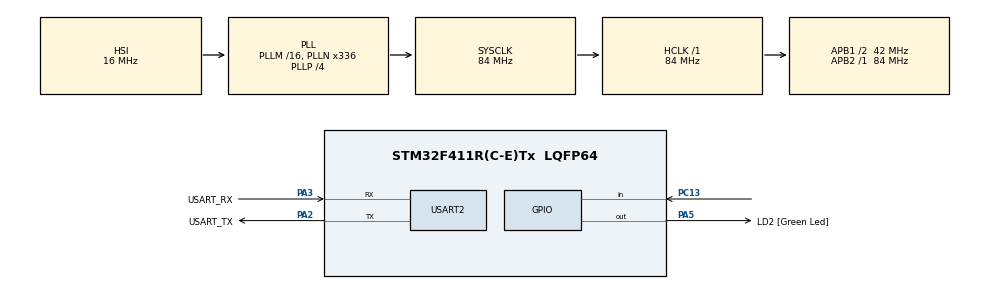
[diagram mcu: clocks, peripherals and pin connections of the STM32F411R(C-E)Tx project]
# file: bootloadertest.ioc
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Mcu.Family=STM32F4
Mcu.Name=STM32F411R(C-E)Tx
Mcu.Package=LQFP64
NVIC.PriorityGroup=NVIC_PRIORITYGROUP_0
PA13.GPIO_Label=TMS
PA13.Mode=Serial_Wire
PA13.Signal=SYS_JTMS-SWDIO
PA14.GPIO_Label=TCK
PA14.Mode=Serial_Wire
PA14.Signal=SYS_JTCK-SWCLK
PA2.GPIO_Label=USART_TX
PA2.Mode=Asynchronous
PA2.Signal=USART2_TX
PA3.GPIO_Label=USART_RX
PA3.Mode=Asynchronous
PA3.Signal=USART2_RX
PA5.GPIO_Label=LD2 [Green Led]
PA5.Signal=GPIO_Output
PB3.GPIO_Label=SWO
PB3.Signal=SYS_JTDO-SWO
PC13-ANTI_TAMP.GPIO_PuPd=GPIO_PULLUP
PC13-ANTI_TAMP.Signal=GPIO_Input
PC14-OSC32_IN.Mode=LSE-External-Oscillator
PC14-OSC32_IN.Signal=RCC_OSC32_IN
PC15-OSC32_OUT.Mode=LSE-External-Oscillator
PC15-OSC32_OUT.Signal=RCC_OSC32_OUT
PH0\ -\ OSC_IN.Mode=HSE-External-Oscillator
PH0\ -\ OSC_IN.Signal=RCC_OSC_IN
PH1\ -\ OSC_OUT.Mode=HSE-External-Oscillator
PH1\ -\ OSC_OUT.Signal=RCC_OSC_OUT
ProjectManager.HeapSize=0x200
ProjectManager.StackSize=0x400
ProjectManager.TargetToolchain=STM32CubeIDE
RCC.48MHZClocksFreq_Value=84000000
RCC.AHBFreq_Value=84000000
RCC.APB1CLKDivider=RCC_HCLK_DIV2
RCC.APB1Freq_Value=42000000
RCC.APB1TimFreq_Value=84000000
RCC.APB2Freq_Value=84000000
RCC.APB2TimFreq_Value=84000000
RCC.CortexFreq_Value=84000000
RCC.FLatency-AdvancedSettings=FLASH_LATENCY_2
RCC.HCLKFreq_Value=84000000
RCC.HSE_VALUE=8000000
RCC.HSI_VALUE=16000000
RCC.PLLN=336
RCC.PLLP=RCC_PLLP_DIV4
RCC.SYSCLKFreq_VALUE=84000000
RCC.SYSCLKSource=RCC_SYSCLKSOURCE_PLLCLK
RCC.VCOOutputFreq_Value=336000000
USART2.VirtualMode=VM_ASYNC
board=NUCLEO-F411RE

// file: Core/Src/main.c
/* USER CODE BEGIN Header */
/**
  ******************************************************************************
  * @file           : main.c
  * @brief          : Main program body
  ******************************************************************************
  * @attention
  *
  * Copyright (c) 2025 STMicroelectronics.
  * All rights reserved.
  *
  * This software is licensed under terms that can be found in the LICENSE file
  * in the root directory of this software component.
  * If no LICENSE file comes with this software, it is provided AS-IS.
  *
  ******************************************************************************
  */
/* USER CODE END Header */
#include "main.h"
#define APP_ADDRESS   (uint32_t)0x08008000

/* USER CODE BEGIN PTD */
typedef void (*pFunction)(void);
/* USER CODE END PTD */

UART_HandleTypeDef huart2;

void SystemClock_Config(void);
static void MX_GPIO_Init(void);
static void MX_USART2_UART_Init(void);
/* USER CODE BEGIN PFP */
void JumpToApp(void);
static int AppImageIsValid(void);
/* USER CODE END PFP */

int main(void)
{

  /* MCU Configuration--------------------------------------------------------*/

  /* Reset of all peripherals, Initializes the Flash interface and the Systick. */
  HAL_Init();

  /* Configure the system clock */
  SystemClock_Config();

  /* Initialize all configured peripherals */
  MX_GPIO_Init();
  MX_USART2_UART_Init();
  /* USER CODE BEGIN 2 */
  for(int i =0;i<10;i++)
  {
	  HAL_GPIO_TogglePin(LD2_GPIO_Port, LD2_Pin);
	  HAL_Delay(100);
  }
  if(HAL_GPIO_ReadPin(GPIOC, GPIO_PIN_13)==GPIO_PIN_RESET)
  {
  	  JumpToApp();
  }

  /* USER CODE END 2 */

  /* Infinite loop */
  while (1)
  {

  }
}

void SystemClock_Config(void)
{
  RCC_OscInitTypeDef RCC_OscInitStruct = {0};
  RCC_ClkInitTypeDef RCC_ClkInitStruct = {0};

  /** Configure the main internal regulator output voltage
  */
  __HAL_RCC_PWR_CLK_ENABLE();
  __HAL_PWR_VOLTAGESCALING_CONFIG(PWR_REGULATOR_VOLTAGE_SCALE1);

  /** Initializes the RCC Oscillators according to the specified parameters
  * in the RCC_OscInitTypeDef structure.
  */
  RCC_OscInitStruct.OscillatorType = RCC_OSCILLATORTYPE_HSI;
  RCC_OscInitStruct.HSIState = RCC_HSI_ON;
  RCC_OscInitStruct.HSICalibrationValue = RCC_HSICALIBRATION_DEFAULT;
  RCC_OscInitStruct.PLL.PLLState = RCC_PLL_ON;
  RCC_OscInitStruct.PLL.PLLSource = RCC_PLLSOURCE_HSI;
  RCC_OscInitStruct.PLL.PLLM = 16;
  RCC_OscInitStruct.PLL.PLLN = 336;
  RCC_OscInitStruct.PLL.PLLP = RCC_PLLP_DIV4;
  RCC_OscInitStruct.PLL.PLLQ = 4;
  if (HAL_RCC_OscConfig(&RCC_OscInitStruct) != HAL_OK)
  {
    Error_Handler();
  }

  /** Initializes the CPU, AHB and APB buses clocks
  */
  RCC_ClkInitStruct.ClockType = RCC_CLOCKTYPE_HCLK|RCC_CLOCKTYPE_SYSCLK
                              |RCC_CLOCKTYPE_PCLK1|RCC_CLOCKTYPE_PCLK2;
  RCC_ClkInitStruct.SYSCLKSource = RCC_SYSCLKSOURCE_PLLCLK;
  RCC_ClkInitStruct.AHBCLKDivider = RCC_SYSCLK_DIV1;
  RCC_ClkInitStruct.APB1CLKDivider = RCC_HCLK_DIV2;
  RCC_ClkInitStruct.APB2CLKDivider = RCC_HCLK_DIV1;

  if (HAL_RCC_ClockConfig(&RCC_ClkInitStruct, FLASH_LATENCY_2) != HAL_OK)
  {
    Error_Handler();
  }
}

static void MX_USART2_UART_Init(void)
{

  huart2.Instance = USART2;
  huart2.Init.BaudRate = 115200;
  huart2.Init.WordLength = UART_WORDLENGTH_8B;
  huart2.Init.StopBits = UART_STOPBITS_1;
  huart2.Init.Parity = UART_PARITY_NONE;
  huart2.Init.Mode = UART_MODE_TX_RX;
  huart2.Init.HwFlowCtl = UART_HWCONTROL_NONE;
  huart2.Init.OverSampling = UART_OVERSAMPLING_16;
  if (HAL_UART_Init(&huart2) != HAL_OK)
  {
    Error_Handler();
  }

}

static void MX_GPIO_Init(void)
{
  GPIO_InitTypeDef GPIO_InitStruct = {0};

  /* GPIO Ports Clock Enable */
  __HAL_RCC_GPIOC_CLK_ENABLE();
  __HAL_RCC_GPIOH_CLK_ENABLE();
  __HAL_RCC_GPIOA_CLK_ENABLE();
  __HAL_RCC_GPIOB_CLK_ENABLE();

  /*Configure GPIO pin Output Level */
  HAL_GPIO_WritePin(LD2_GPIO_Port, LD2_Pin, GPIO_PIN_RESET);

  /*Configure GPIO pin : PC13 */
  GPIO_InitStruct.Pin = GPIO_PIN_13;
  GPIO_InitStruct.Mode = GPIO_MODE_INPUT;
  GPIO_InitStruct.Pull = GPIO_PULLUP;
  HAL_GPIO_Init(GPIOC, &GPIO_InitStruct);

  /*Configure GPIO pin : LD2_Pin */
  GPIO_InitStruct.Pin = LD2_Pin;
  GPIO_InitStruct.Mode = GPIO_MODE_OUTPUT_PP;
  GPIO_InitStruct.Pull = GPIO_NOPULL;
  GPIO_InitStruct.Speed = GPIO_SPEED_FREQ_LOW;
  HAL_GPIO_Init(LD2_GPIO_Port, &GPIO_InitStruct);

}

/* USER CODE BEGIN 4 */
static int AppImageIsValid(void) {
    uint32_t sp = *(__IO uint32_t*)APP_ADDRESS;
    // F767ZI SRAM 범위: 0x2000_0000 ~ 0x2007_FFFF
    return (sp >= 0x20000000U && sp <= 0x20080000U);
}

void JumpToApp(void) {
    uint32_t appStack, appResetHandlerAddr;
    pFunction AppResetHandler;

    __disable_irq();

    // 주변장치/클럭 정리(필수 최소)
    SysTick->CTRL = 0;           // SysTick 멈춤
    SysTick->LOAD = 0;
    SysTick->VAL  = 0;
    HAL_DeInit();                // HAL 타이머/IRQ 해제
    __DSB(); __ISB();

    if(!AppImageIsValid()) {
        // 유효하지 않으면 복귀 또는 에러 처리
        __enable_irq();
        return;
    }

    appStack = *(__IO uint32_t*)APP_ADDRESS;
    appResetHandlerAddr = *(__IO uint32_t*)(APP_ADDRESS + 4U);
    AppResetHandler = (pFunction)appResetHandlerAddr;

    // 벡터 테이블 재배치
    SCB->VTOR = APP_ADDRESS;
    __DSB(); __ISB();

    // MSP 설정
    __set_MSP(appStack);

    // 필요 시 캐시/분기버퍼 정리
    // SCB_CleanDCache(); SCB_InvalidateICache(); // 선택

    __enable_irq();

    // 애플리케이션 Reset_Handler로 진입
    AppResetHandler();
}
/* USER CODE END 4 */

void Error_Handler(void)
{
  __disable_irq();
  while (1)
  {
  }
}
